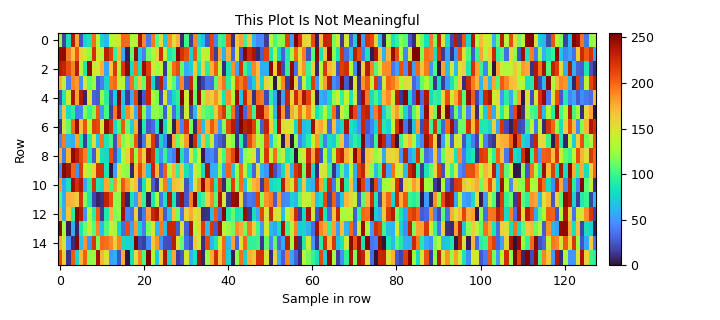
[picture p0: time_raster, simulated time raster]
options:
  parameters:
    author: J. Gilbert
    copyright: 2021 J. Gilbert
    description: Example usage of a range of PDU tools.
    generate_options: qt_gui
    id: pdu_tools_demo
    output_language: python
    title: PDU Tools Example
  states: {}

blocks:
- name: interval
  id: variable
  parameters:
    value: '0.400'
  states: {}
- name: timekey
  id: variable
  parameters:
    value: pmt.intern("SYS_TIME")
  states: {}
- name: val
  id: variable_qtgui_range
  parameters:
    label: KEY1 Metadata Value
    start: '0'
    step: '0.1'
    stop: '500.0'
    value: '123.4'
  states: {}
- name: add_sys_time
  id: pdu_add_system_time
  parameters:
    comment: |-
      此块将把系统时间作为双精度浮点值添
      加到 PDU 元数据中。时间键可以由用
      户设置。
    key: timekey
  states: {}
- name: msg_dbg
  id: blocks_message_debug
  parameters:
    comment: Print out the metadata dictionary.
  states: {}
- name: msg_dbg_0
  id: blocks_message_debug
  parameters:
    comment: Print out the metadata dictionary.
  states: {state: disabled}
- name: msg_strobe
  id: blocks_message_strobe
  parameters:
    comment: 发射 Emits pmt.PMT_T
    msg: pmt.PMT_T
    period: int(interval*1000)
  states: {}
- name: note
  id: note
  parameters:
    comment: |-
      通常，一些PDU处理将在这里进行，
      以便应用时间基准。
    note: README
  states: {}
- name: note_0_0
  id: note
  parameters:
    comment: |-
      此流程图突出显示了许多有用的PDU工具。
      此流程图除了用作参考/演示之外，
      不打算做任何特别有用的事情。

      https://wiki.gnuradio.org/index.php/PDU_Set
    note: SUMMARY
  states: {}
- name: pdu_set
  id: pdu_pdu_set
  parameters:
    comment: 此块将向 PDU 元数据字典添加一个 key-value 数据对。
    k: pmt.intern("KEY1")
    v: pmt.from_double(val)
  states: {}
- name: pdu_split
  id: pdu_pdu_split
  parameters:
    comment: |-
      PDU 将会被拆分成数据字典 metadata dictionary 和 统一向量 uniform vector
      , 然后分别作为 dict/uvec PMT 消息发出。
    pass_empty: 'False'
  states: {}
- name: random_pdu
  id: pdu_random_pdu
  parameters:
    comment: |-
      该块每次接收输入消息时都会发出一个带有空字典的随机PDU。
      输入消息的组成无关紧要（空消息也能触发）。
    length_modulo: '256'
    mask: '0xFF'
    maxsize: '4096'
    minsize: '2048'
  states: {}
- name: time_delta
  id: pdu_time_delta
  parameters:
    comment: |-
      此块计算从添加时间键到现在所经过的毫秒数，
      并当流程图停止时打印统计信息。
    delta_key: pmt.intern("time_delta_ms")
    time_key: timekey
  states: {}
- name: time_raster
  id: qtgui_time_raster_sink_x
  parameters:
    comment: Colors for fun.
    name: '"This Plot Is Not Meaningful"'
    ncols: '128'
    samp_rate: '1'
    type: msg_byte
    zmax: '127'
    zmin: '-128'
  states: {}
- name: vs0
  id: virtual_sink
  parameters:
    stream_id: x
  states: {}
- name: vs1
  id: virtual_source
  parameters:
    stream_id: x
  states: {}
- name: vs2
  id: virtual_sink
  parameters:
    stream_id: y
  states: {}
- name: vs3
  id: virtual_source
  parameters:
    stream_id: y
  states: {}

connections:
- [add_sys_time, pdu, time_delta, pdu]
- [msg_strobe, strobe, random_pdu, generate]
- [pdu_set, pdus, vs0, '0']
- [pdu_split, dict, msg_dbg, print]
- [pdu_split, vec, time_raster, in]
- [random_pdu, pdus, pdu_set, pdus]
- [time_delta, pdu, msg_dbg_0, print]
- [time_delta, pdu, vs2, '0']
- [vs1, '0', add_sys_time, pdu]
- [vs3, '0', pdu_split, pdu]

metadata:
  file_format: 1
  grc_version: 3.10.8.0
